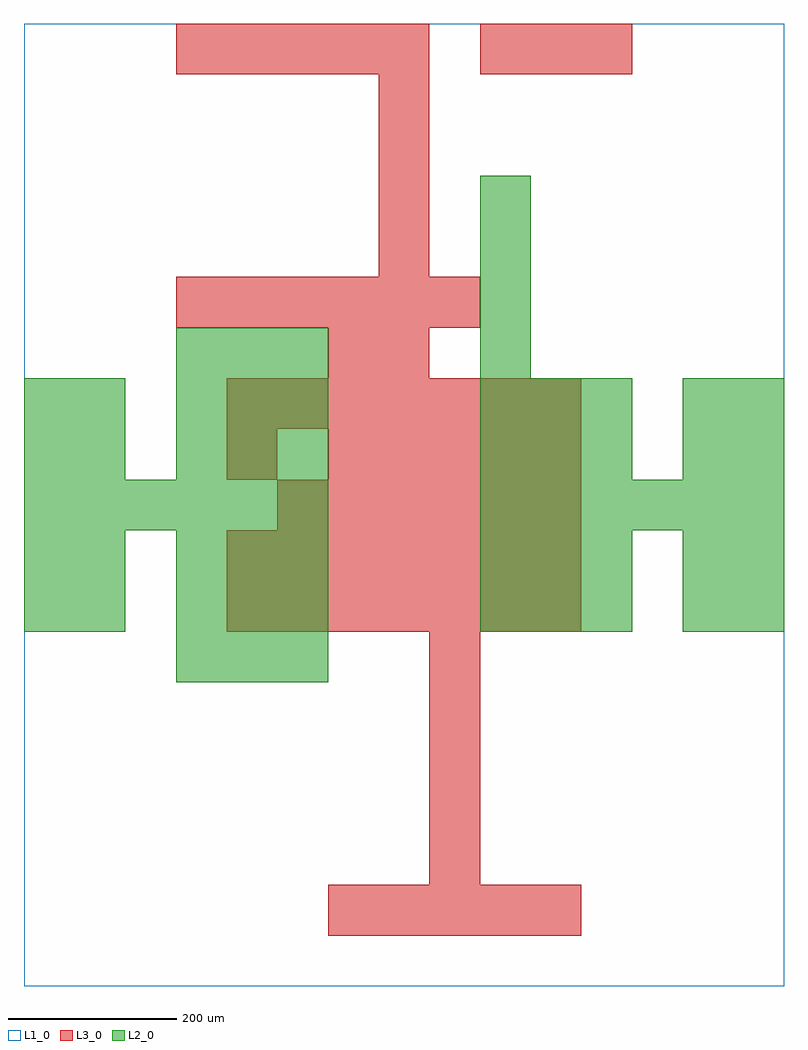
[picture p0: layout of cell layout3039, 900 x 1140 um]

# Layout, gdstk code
import gdstk
lib = gdstk.Library(unit=1e-6, precision=1e-09)
def R(c, l, rs):  # rectangles x0, y0, x1, y1
    for r in rs: c.add(gdstk.rectangle(r[:2], r[2:], *l))
def A(c, l, x, y, w, h, nx, ny, dx, dy):  # array of equal rectangles
    R(c, l, [(x+i*dx, y+j*dy, x+i*dx+w, y+j*dy+h) for i in range(nx) for j in range(ny)])
L1_0 = (1, 0)
L2_0 = (2, 0)
L3_0 = (3, 0)

layout3039 = lib.new_cell('layout3039')
R(layout3039, L1_0, [(0,0,900,1140)])
A(layout3039, L2_0, 180, 360, 60, 60, 3, 3, 60, 60)
A(layout3039, L2_0, 540, 420, 60, 60, 3, 2, 60, 60)
A(layout3039, L2_0, 0, 540, 60, 60, 6, 1, 60, 0)
A(layout3039, L2_0, 540, 540, 60, 60, 6, 1, 60, 0)
A(layout3039, L2_0, 180, 600, 60, 60, 3, 3, 60, 60)
A(layout3039, L2_0, 540, 600, 60, 60, 3, 2, 60, 60)
A(layout3039, L2_0, 540, 720, 60, 60, 1, 4, 0, 60)
R(layout3039, L2_0, [(0,420,60,480), (60,420,120,480), (780,420,840,480), (840,420,900,480), (0,480,60,540), (60,480,120,540), (780,480,840,540), (840,480,900,540), (0,600,60,660), (60,600,120,660), (780,600,840,660), (840,600,900,660), (0,660,60,720), (60,660,120,720), (780,660,840,720), (840,660,900,720)])
A(layout3039, L3_0, 360, 60, 60, 60, 5, 2, 60, 540)
A(layout3039, L3_0, 480, 120, 60, 60, 1, 5, 0, 60)
A(layout3039, L3_0, 240, 420, 60, 60, 7, 2, 60, 60)
A(layout3039, L3_0, 300, 540, 60, 60, 6, 1, 60, 0)
A(layout3039, L3_0, 240, 660, 60, 60, 7, 1, 60, 0)
A(layout3039, L3_0, 180, 780, 60, 60, 6, 1, 60, 0)
A(layout3039, L3_0, 420, 840, 60, 60, 1, 4, 0, 60)
A(layout3039, L3_0, 180, 1080, 60, 60, 5, 1, 60, 0)
A(layout3039, L3_0, 540, 1080, 60, 60, 3, 1, 60, 0)
R(layout3039, L3_0, [(240,600,300,660), (360,720,420,780), (420,720,480,780)])

lib.write_gds('layout3039.gds')
